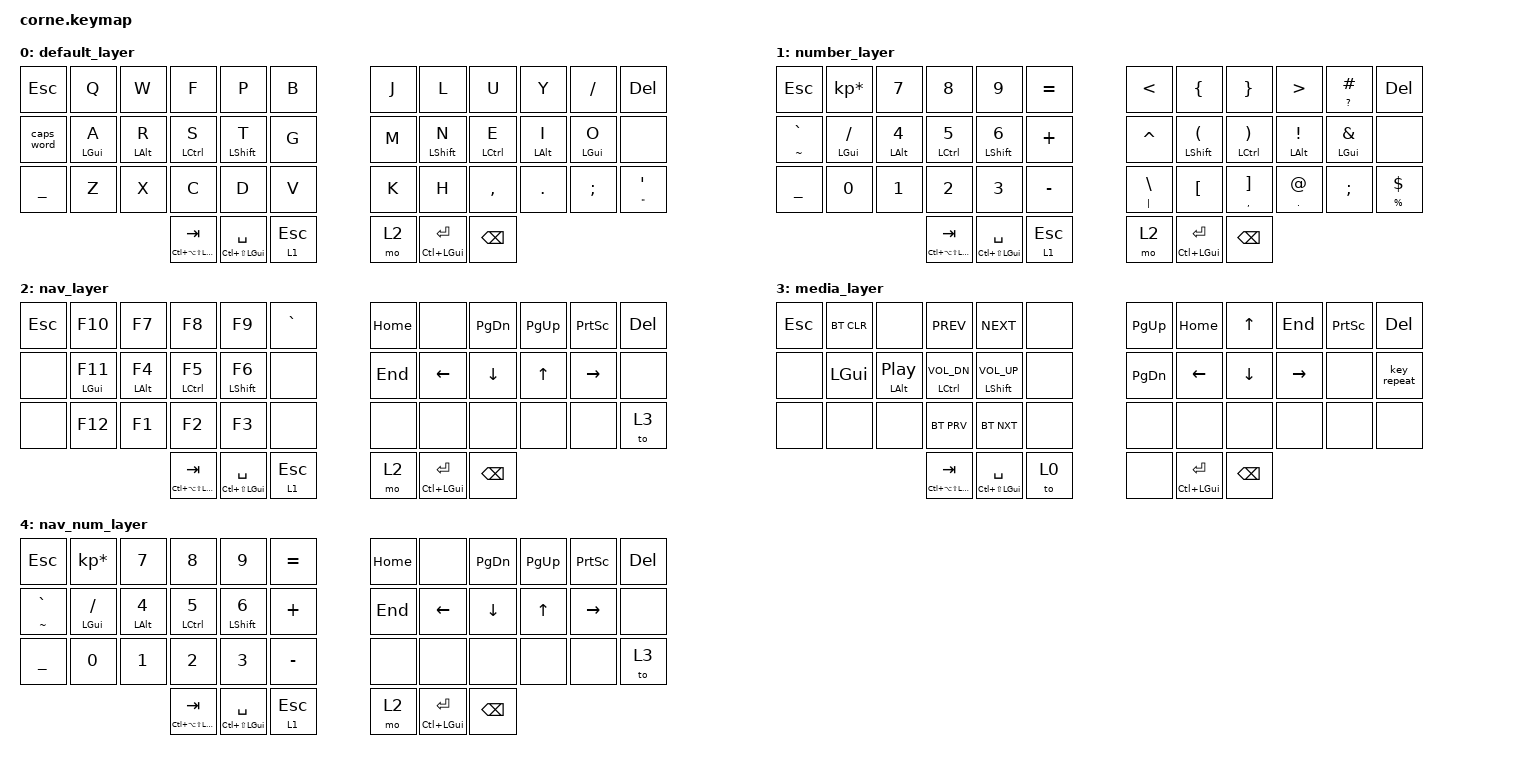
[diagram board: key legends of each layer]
/*
 * Copyright (c) 2020 The ZMK Contributors
 *
 * SPDX-License-Identifier: MIT
 */

#include <behaviors.dtsi>
#include <dt-bindings/zmk/keys.h>
#include <dt-bindings/zmk/bt.h>
//#include <dt-bindings/zmk/mouse.h>

&mt {
    flavor = "tap-preferred";
    tapping-term-ms = <200>;
};
/*
&mmv {
   time-to-max-speed-ms = <680>;
   acceleration-exponent=<2>;
};
*/
/ {
        behaviors {
                hm: homerow_mods {
                        compatible = "zmk,behavior-hold-tap";
                        #binding-cells = <2>;
                        tapping-term-ms = <200>;
                        flavor = "tap-preferred";
                        bindings = <&kp>, <&kp>;
                };
                lhk: layer_hold_key {
                        compatible = "zmk,behavior-hold-tap";
                        #binding-cells = <2>;
                        tapping-term-ms = <200>;
                        flavor = "tap-preferred";
                        bindings = <&kp>, <&to>;
                };
        };
        conditional_layers {
                compatible = "zmk,conditional-layers";
                tri_layer {
                if-layers = <1 2>;
                then-layer = <4>;
                };
        };
        keymap {
                compatible = "zmk,keymap";

                default_layer {
// -----------------------------------------------------------------------------------------
// | ESC  |  Q  |  W  |  F  |  P  |  B  |   |  J  |  L   |  U   |  Y  |  /  | DEL  |
// | CAP  |  A  |  R  |  S  |  T  |  G  |   |  M  |  N   |  E   |  I  |  O  | L2   |
// | _    |  Z  |  X  |  C  |  D  |  V  |   |  K  |  H   |  ,   |  .  |  ;  |  "   |
//                    | TAB | ESC | SPC |   | ENT | L1   | BKSP |
                        bindings = <
   &kp ESC     &kp Q      &kp W      &kp F       &kp P       &kp B   &kp J &kp L       &kp U       &kp Y      &kp FSLH   &kp DEL
   &caps_word  &hm LGUI A &hm LALT R &hm LCTRL S &hm LSHFT T &kp G   &kp M &hm LSHFT N &hm LCTRL E &hm LALT I &hm LGUI O &none
   &kp UNDER   &kp Z      &kp X      &kp C       &kp D       &kp V   &kp K &kp H       &kp COMMA   &kp DOT    &kp SEMI   &hm DQT SQT
               &mt LC(LA(LS(LGUI))) TAB &mt LC(LS(LGUI)) SPACE &lt 1 ESC    &mo 2 &mt LC(LGUI) RET  &kp BSPC
                        >;
                };
                number_layer {
                        
// -----------------------------------------------------------------------------------------
// | ESC  |  *  |  7  |  8  |  9  |  =  |   |  <  |  {  |  }   |  >  |  #  | DEL  |
// | `    |  /  |  4  |  5  |  6  |  +  |   |  ^  |  (  |  )   |  !  |  &  | L2   |
// | _    |  0  |  1  |  2  |  3  |  -  |   |  \  |  [  |  ]   |  @  |  ;  | $    |
//                    | TAB | L0  | SPC |   | ENT | L1  | BKSP |
                        bindings = <
   &kp ESC         &kp KP_MULTIPLY &kp N7      &kp N8       &kp N9       &kp EQUAL   &kp LT        &kp LBRC       &kp RBRC       &kp GT        &hm QMARK HASH &kp DEL
   &hm TILDE GRAVE &hm LGUI FSLH   &hm LALT N4 &hm LCTRL N5 &hm LSHFT N6 &kp PLUS    &kp CARET     &hm LSHFT LPAR &hm LCTRL RPAR &hm LALT EXCL &hm LGUI AMPS  &none
   &kp UNDER       &kp N0          &kp N1      &kp N2       &kp N3       &kp MINUS   &hm PIPE BSLH &kp LBKT       &hm COMMA RBKT &hm DOT AT    &kp SEMI       &hm PRCNT DLLR
                       &mt LC(LA(LS(LGUI))) TAB &mt LC(LS(LGUI)) SPACE &lt 1 ESC    &mo 2 &mt LC(LGUI) RET  &kp BSPC
                        >;
                };
                
                nav_layer {
// -----------------------------------------------------------------------------------------
// | REPT | F10 | F7  | F8  | F9  |  `  |   | PGU | HOME | UP   | END | PRT | DEL  |
// | CAP  | F11 | F3  | F4  | F5  |     |   | PGD | LFT  | DWN  | RHT |     | L2   |
// | none | F12 | F1  | F2  | F3  |     |   |     |      |      |     |     | L3   |
//                    | TAB | L0  | SPC |   | ENT | L1   | BKSP |
                        bindings = <
   &kp ESC &kp F10      &kp F7      &kp F8       &kp F9       &kp GRAVE    &kp HOME &none    &kp PG_DN &kp PG_UP &kp PSCRN &kp DEL
   &none   &hm LGUI F11 &hm LALT F4 &hm LCTRL F5 &hm LSHFT F6 &none        &kp END  &kp LEFT &kp DOWN  &kp UP    &kp RIGHT &none
   &none   &kp F12      &kp F1      &kp F2       &kp F3       &none        &none    &none    &none     &none     &none     &to 3
                         &mt LC(LA(LS(LGUI))) TAB &mt LC(LS(LGUI)) SPACE &lt 1 ESC      &mo 2 &mt LC(LGUI) RET  &kp BSPC
                        >;
                };
                media_layer {
// -----------------------------------------------------------------------------------------
// | none | BTC |     | PRV | NXT |     |   | SU  | LC | MU   | RC | PRT | DEL  |
// | CAP  |     | PLY | V-  | V+  |     |   | SD  | ML | MD   | MR |     | REPT |
// | none |     |     | BTP | BTN |     |   |     | SL |      | SR |     |      |
//                    | TAB | L0  | SPC |   | ENT |    | BKSP |
                        /*
                        bindings = <
   &kp TAB   &bt BT_CLR &none    &kp C_PREV   &kp C_NEXT   &none        &mwh SCROLL_UP   &mkp LCLK        &mmv MOVE_UP   &mkp RCLK         &kp PSCRN &kp DEL
   &sk LGUI  &none      &kp C_PP &kp C_VOL_DN &kp C_VOL_UP &none        &mwh SCROLL_DOWN &mmv MOVE_LEFT   &mmv MOVE_DOWN &mmv MOVE_RIGHT   &none     &kp BSPC
   &sk LCTRL &none      &none    &bt BT_PRV   &bt BT_NXT   &none        &none            &mwh SCROLL_LEFT &none          &mwh SCROLL_RIGHT &none     &none
                         &sk LSHFT &to 0 &mt LC(LS(LGUI)) SPACE     &mt LC(LGUI) RET &none &kp BSPC
                        >;
                        */
                        bindings = <
   &kp ESC &bt BT_CLR &none         &kp C_PREV         &kp C_NEXT         &none        &kp PG_UP &kp HOME &kp UP   &kp END   &kp PSCRN &kp DEL
   &none   &kp LGUI   &hm LALT C_PP &hm LCTRL C_VOL_DN &hm LSHFT C_VOL_UP &none        &kp PG_DN &kp LEFT &kp DOWN &kp RIGHT &none     &key_repeat
   &none   &none      &none         &bt BT_PRV         &bt BT_NXT         &none        &none     &none    &none    &none     &none     &none
                         &mt LC(LA(LS(LGUI))) TAB &mt LC(LS(LGUI)) SPACE &to 0         &none     &mt LC(LGUI) RET  &kp BSPC
                        >;
                };
                nav_num_layer {
                        bindings = <
   &kp ESC         &kp KP_MULTIPLY &kp N7      &kp N8       &kp N9       &kp EQUAL      &kp HOME &none    &kp PG_DN &kp PG_UP &kp PSCRN &kp DEL
   &hm TILDE GRAVE &hm LGUI FSLH   &hm LALT N4 &hm LCTRL N5 &hm LSHFT N6 &kp PLUS       &kp END  &kp LEFT &kp DOWN  &kp UP    &kp RIGHT &none
   &kp UNDER       &kp N0          &kp N1      &kp N2       &kp N3       &kp MINUS      &none    &none    &none     &none     &none      &to 3
                         &mt LC(LA(LS(LGUI))) TAB &mt LC(LS(LGUI)) SPACE &lt 1 ESC      &mo 2 &mt LC(LGUI) RET  &kp BSPC
                        >;
                };
        };
};

